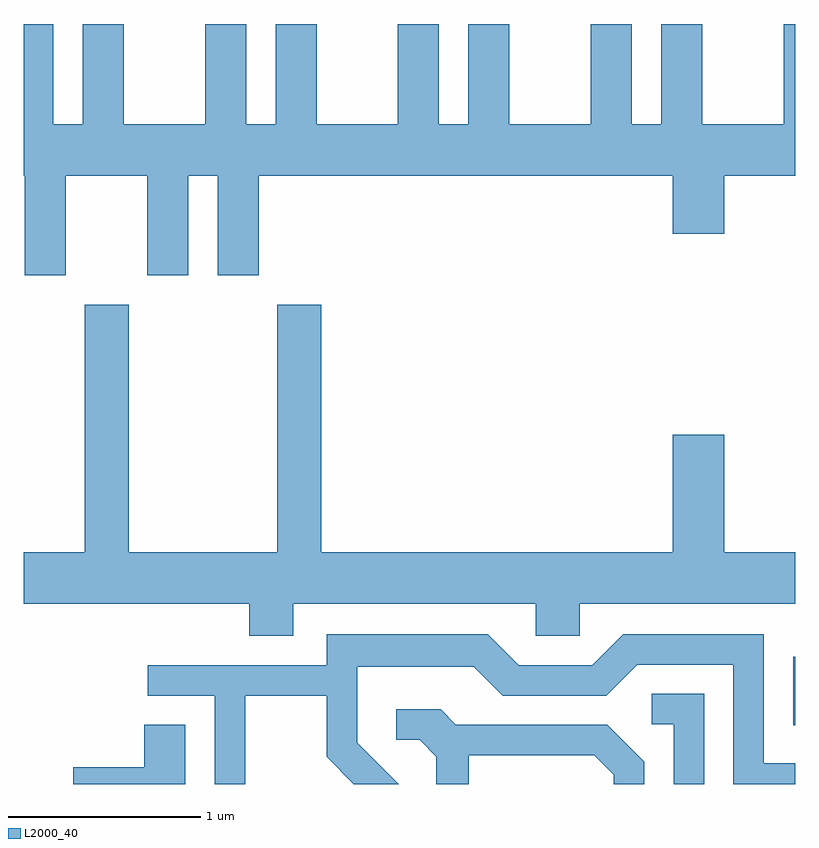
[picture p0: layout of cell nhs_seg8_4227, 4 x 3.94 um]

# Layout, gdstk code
import gdstk
lib = gdstk.Library(unit=1e-6, precision=1e-09)
def R(c, l, rs):  # rectangles x0, y0, x1, y1
    for r in rs: c.add(gdstk.rectangle(r[:2], r[2:], *l))
def P(c, l, *ps):  # polygons
    for p in ps: c.add(gdstk.Polygon(p, *l))
L2000_40 = (2000, 40)

nhs_seg8_4227 = lib.new_cell('nhs_seg8_4227')
R(nhs_seg8_4227, L2000_40, [(315.601,1864.646,315.611,1865.003)])
P(nhs_seg8_4227, L2000_40, [(311.829,1867.496),(312.251,1867.496),(312.251,1866.981),(312.464,1866.981),(312.464,1867.496),(312.616,1867.496),(312.616,1866.981),(312.829,1866.981),(312.829,1867.496),(314.976,1867.496),(314.976,1867.196),(315.244,1867.196),(315.244,1867.496),(315.611,1867.496),(315.611,1868.284),(315.551,1868.284),(315.551,1867.764),(315.129,1867.764),(315.129,1868.284),(314.916,1868.284),(314.916,1867.764),(314.764,1867.764),(314.764,1868.284),(314.551,1868.284),(314.551,1867.764),(314.129,1867.764),(314.129,1868.284),(313.916,1868.284),(313.916,1867.764),(313.764,1867.764),(313.764,1868.284),(313.551,1868.284),(313.551,1867.764),(313.129,1867.764),(313.129,1868.284),(312.916,1868.284),(312.916,1867.764),(312.764,1867.764),(312.764,1868.284),(312.551,1868.284),(312.551,1867.764),(312.129,1867.764),(312.129,1868.284),(311.916,1868.284),(311.916,1867.764),(311.764,1867.764),(311.764,1868.284),(311.611,1868.284),(311.611,1867.496),(311.616,1867.496),(311.616,1866.981),(311.829,1866.981)],
  [(313.009,1865.276),(314.266,1865.276),(314.266,1865.111),(314.494,1865.111),(314.494,1865.276),(315.611,1865.276),(315.611,1865.544),(315.244,1865.544),(315.244,1866.154),(314.976,1866.154),(314.976,1865.544),(313.154,1865.544),(313.154,1866.829),(312.926,1866.829),(312.926,1865.544),(312.154,1865.544),(312.154,1866.829),(311.926,1866.829),(311.926,1865.544),(311.611,1865.544),(311.611,1865.276),(312.781,1865.276),(312.781,1865.111),(313.009,1865.111)],
  [(312.759,1864.801),(313.181,1864.801),(313.181,1864.484),(313.323,1864.342),(313.554,1864.342),(313.339,1864.557),(313.339,1864.951),(313.944,1864.951),(314.094,1864.801),(314.632,1864.801),(314.792,1864.961),(315.291,1864.961),(315.291,1864.342),(315.611,1864.342),(315.611,1864.449),(315.449,1864.449),(315.449,1865.119),(314.719,1865.119),(314.559,1864.959),(314.177,1864.959),(314.017,1865.119),(313.181,1865.119),(313.181,1864.959),(312.253,1864.959),(312.253,1864.801),(312.601,1864.801),(312.601,1864.342),(312.759,1864.342)],
  [(315.139,1864.809),(314.868,1864.809),(314.868,1864.651),(314.981,1864.651),(314.981,1864.342),(315.139,1864.342)],
  [(313.919,1864.491),(314.569,1864.491),(314.671,1864.389),(314.671,1864.342),(314.829,1864.342),(314.829,1864.457),(314.637,1864.649),(313.852,1864.649),(313.772,1864.729),(313.543,1864.729),(313.543,1864.571),(313.664,1864.571),(313.751,1864.484),(313.751,1864.342),(313.919,1864.342)],
  [(312.449,1864.649),(312.236,1864.649),(312.236,1864.429),(311.866,1864.429),(311.866,1864.342),(312.449,1864.342)])

lib.write_gds('nhs_seg8_4227.gds')
